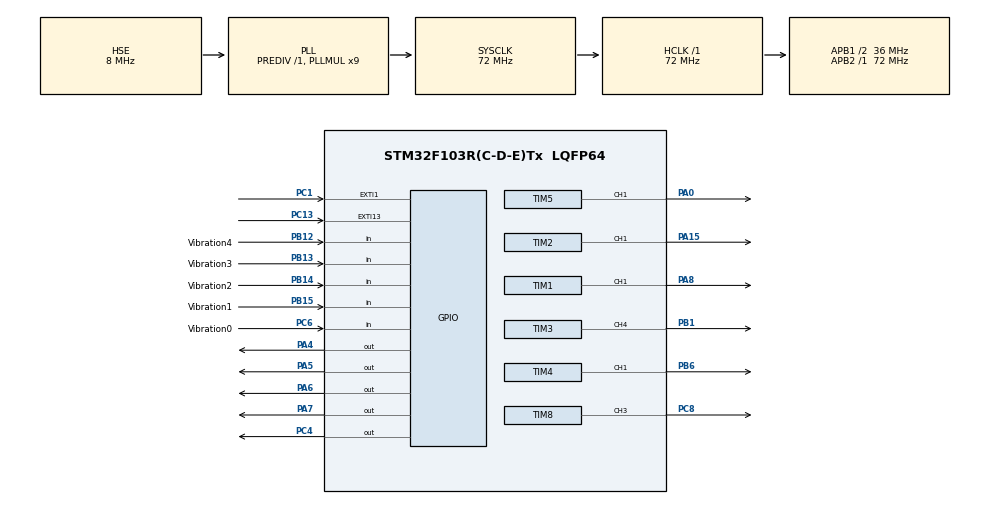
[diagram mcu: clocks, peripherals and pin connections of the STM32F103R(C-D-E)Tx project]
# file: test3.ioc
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Dma.Request0=TIM1_CH1
Dma.Request1=TIM2_CH1
Dma.Request2=TIM4_CH1
Dma.Request3=TIM3_CH4/UP
Dma.Request4=TIM5_CH1
Dma.Request5=TIM8_CH3/UP
Dma.TIM1_CH1.0.Direction=DMA_MEMORY_TO_PERIPH
Dma.TIM1_CH1.0.Instance=DMA1_Channel2
Dma.TIM1_CH1.0.MemDataAlignment=DMA_MDATAALIGN_WORD
Dma.TIM1_CH1.0.MemInc=DMA_MINC_ENABLE
Dma.TIM1_CH1.0.Mode=DMA_NORMAL
Dma.TIM1_CH1.0.PeriphDataAlignment=DMA_PDATAALIGN_WORD
Dma.TIM1_CH1.0.PeriphInc=DMA_PINC_DISABLE
Dma.TIM1_CH1.0.Priority=DMA_PRIORITY_LOW
Dma.TIM2_CH1.1.Direction=DMA_MEMORY_TO_PERIPH
Dma.TIM2_CH1.1.Instance=DMA1_Channel5
Dma.TIM2_CH1.1.MemDataAlignment=DMA_MDATAALIGN_WORD
Dma.TIM2_CH1.1.MemInc=DMA_MINC_ENABLE
Dma.TIM2_CH1.1.Mode=DMA_NORMAL
Dma.TIM2_CH1.1.PeriphDataAlignment=DMA_PDATAALIGN_WORD
Dma.TIM2_CH1.1.PeriphInc=DMA_PINC_DISABLE
Dma.TIM2_CH1.1.Priority=DMA_PRIORITY_LOW
Dma.TIM3_CH4/UP.3.Direction=DMA_MEMORY_TO_PERIPH
Dma.TIM3_CH4/UP.3.Instance=DMA1_Channel3
Dma.TIM3_CH4/UP.3.MemDataAlignment=DMA_MDATAALIGN_WORD
Dma.TIM3_CH4/UP.3.MemInc=DMA_MINC_ENABLE
Dma.TIM3_CH4/UP.3.Mode=DMA_NORMAL
Dma.TIM3_CH4/UP.3.PeriphDataAlignment=DMA_PDATAALIGN_WORD
Dma.TIM3_CH4/UP.3.PeriphInc=DMA_PINC_DISABLE
Dma.TIM3_CH4/UP.3.Priority=DMA_PRIORITY_LOW
Dma.TIM4_CH1.2.Direction=DMA_MEMORY_TO_PERIPH
Dma.TIM4_CH1.2.Instance=DMA1_Channel1
Dma.TIM4_CH1.2.MemDataAlignment=DMA_MDATAALIGN_WORD
Dma.TIM4_CH1.2.MemInc=DMA_MINC_ENABLE
Dma.TIM4_CH1.2.Mode=DMA_NORMAL
Dma.TIM4_CH1.2.PeriphDataAlignment=DMA_PDATAALIGN_WORD
Dma.TIM4_CH1.2.PeriphInc=DMA_PINC_DISABLE
Dma.TIM4_CH1.2.Priority=DMA_PRIORITY_LOW
Dma.TIM5_CH1.4.Direction=DMA_MEMORY_TO_PERIPH
Dma.TIM5_CH1.4.Instance=DMA2_Channel5
Dma.TIM5_CH1.4.MemDataAlignment=DMA_MDATAALIGN_WORD
Dma.TIM5_CH1.4.MemInc=DMA_MINC_ENABLE
Dma.TIM5_CH1.4.Mode=DMA_NORMAL
Dma.TIM5_CH1.4.PeriphDataAlignment=DMA_PDATAALIGN_WORD
Dma.TIM5_CH1.4.PeriphInc=DMA_PINC_DISABLE
Dma.TIM5_CH1.4.Priority=DMA_PRIORITY_LOW
Dma.TIM8_CH3/UP.5.Direction=DMA_MEMORY_TO_PERIPH
Dma.TIM8_CH3/UP.5.Instance=DMA2_Channel1
Dma.TIM8_CH3/UP.5.MemDataAlignment=DMA_MDATAALIGN_WORD
Dma.TIM8_CH3/UP.5.MemInc=DMA_MINC_ENABLE
Dma.TIM8_CH3/UP.5.Mode=DMA_NORMAL
Dma.TIM8_CH3/UP.5.PeriphDataAlignment=DMA_PDATAALIGN_WORD
Dma.TIM8_CH3/UP.5.PeriphInc=DMA_PINC_DISABLE
Dma.TIM8_CH3/UP.5.Priority=DMA_PRIORITY_LOW
Mcu.Family=STM32F1
Mcu.Name=STM32F103R(C-D-E)Tx
Mcu.Package=LQFP64
NVIC.DMA1_Channel1_IRQn=true\:5\:0\:true\:false\:true\:false\:true\:true
NVIC.DMA1_Channel2_IRQn=true\:5\:0\:true\:false\:true\:false\:true\:true
NVIC.DMA1_Channel3_IRQn=true\:5\:0\:true\:false\:true\:false\:true\:true
NVIC.DMA1_Channel5_IRQn=true\:5\:0\:true\:false\:true\:false\:true\:true
NVIC.DMA2_Channel1_IRQn=true\:5\:0\:true\:false\:true\:false\:true\:true
NVIC.DMA2_Channel4_5_IRQn=true\:6\:0\:true\:false\:true\:false\:true\:true
NVIC.EXTI15_10_IRQn=true\:1\:0\:true\:false\:true\:true\:true\:true
NVIC.EXTI1_IRQn=true\:1\:0\:true\:false\:true\:true\:true\:true
NVIC.PriorityGroup=NVIC_PRIORITYGROUP_4
NVIC.RTC_IRQn=true\:0\:0\:false\:false\:true\:true\:true\:true
PA0-WKUP.Signal=S_TIM5_CH1
PA13.Mode=Serial_Wire
PA13.Signal=SYS_JTMS-SWDIO
PA14.Mode=Serial_Wire
PA14.Signal=SYS_JTCK-SWCLK
PA15.Signal=S_TIM2_CH1_ETR
PA4.GPIO_ModeDefaultOutputPP=GPIO_MODE_OUTPUT_PP
PA4.GPIO_PuPd=GPIO_PULLDOWN
PA4.Signal=GPIO_Output
PA5.GPIO_ModeDefaultOutputPP=GPIO_MODE_OUTPUT_PP
PA5.GPIO_PuPd=GPIO_PULLDOWN
PA5.Signal=GPIO_Output
PA6.GPIO_PuPd=GPIO_PULLDOWN
PA6.Signal=GPIO_Output
PA7.GPIO_PuPd=GPIO_PULLDOWN
PA7.Signal=GPIO_Output
PA8.Signal=S_TIM1_CH1
PB1.Signal=S_TIM3_CH4
PB12.GPIO_Label=Vibration4
PB12.GPIO_PuPd=GPIO_NOPULL
PB12.Signal=GPIO_Input
PB13.GPIO_Label=Vibration3
PB13.GPIO_PuPd=GPIO_NOPULL
PB13.Signal=GPIO_Input
PB14.GPIO_Label=Vibration2
PB14.GPIO_PuPd=GPIO_NOPULL
PB14.Signal=GPIO_Input
PB15.GPIO_Label=Vibration1
PB15.GPIO_PuPd=GPIO_NOPULL
PB15.Signal=GPIO_Input
PB6.Signal=S_TIM4_CH1
PC1.GPIO_ModeDefaultEXTI=GPIO_MODE_IT_FALLING
PC1.GPIO_PuPd=GPIO_PULLUP
PC1.Signal=GPXTI1
PC13-TAMPER-RTC.GPIO_ModeDefaultEXTI=GPIO_MODE_IT_FALLING
PC13-TAMPER-RTC.GPIO_PuPd=GPIO_PULLUP
PC13-TAMPER-RTC.Signal=GPXTI13
PC4.GPIO_PuPd=GPIO_PULLDOWN
PC4.Signal=GPIO_Output
PC6.GPIO_Label=Vibration0
PC6.GPIO_PuPd=GPIO_NOPULL
PC6.Signal=GPIO_Input
PC8.Signal=S_TIM8_CH3
PD0-OSC_IN.Mode=HSE-External-Oscillator
PD0-OSC_IN.Signal=RCC_OSC_IN
PD1-OSC_OUT.Mode=HSE-External-Oscillator
PD1-OSC_OUT.Signal=RCC_OSC_OUT
ProjectManager.HeapSize=0x400
ProjectManager.StackSize=0x500
ProjectManager.TargetToolchain=MDK-ARM V5.32
RCC.AHBFreq_Value=72000000
RCC.APB1CLKDivider=RCC_HCLK_DIV2
RCC.APB1Freq_Value=36000000
RCC.APB1TimFreq_Value=72000000
RCC.APB2Freq_Value=72000000
RCC.APB2TimFreq_Value=72000000
RCC.HCLKFreq_Value=72000000
RCC.PLLMUL=RCC_PLL_MUL9
RCC.PLLSourceVirtual=RCC_PLLSOURCE_HSE
RCC.SYSCLKFreq_VALUE=72000000
RCC.SYSCLKSource=RCC_SYSCLKSOURCE_PLLCLK
RCC.USBFreq_Value=72000000
RTC.Format=RTC_FORMAT_BCD
SH.S_TIM1_CH1.0=TIM1_CH1,PWM Generation1 CH1
SH.S_TIM2_CH1_ETR.0=TIM2_CH1,PWM Generation1 CH1
SH.S_TIM3_CH4.0=TIM3_CH4,PWM Generation4 CH4
SH.S_TIM4_CH1.0=TIM4_CH1,PWM Generation1 CH1
SH.S_TIM5_CH1.0=TIM5_CH1,PWM Generation1 CH1
SH.S_TIM8_CH3.0=TIM8_CH3,PWM Generation3 CH3
TIM1.Channel-PWM\ Generation1\ CH1=TIM_CHANNEL_1
TIM1.Period=89
TIM2.Channel-PWM\ Generation1\ CH1=TIM_CHANNEL_1
TIM2.Period=89
TIM3.Channel-PWM\ Generation4\ CH4=TIM_CHANNEL_4
TIM3.Period=89
TIM4.Channel-PWM\ Generation1\ CH1=TIM_CHANNEL_1
TIM4.Period=89
TIM5.Channel-PWM\ Generation1\ CH1=TIM_CHANNEL_1
TIM5.Period=89
TIM8.Channel-PWM\ Generation3\ CH3=TIM_CHANNEL_3
TIM8.Period=89
VP_RTC_No_RTC_Output.Mode=RTC_OUT_NO
VP_RTC_VS_RTC_Activate.Mode=RTC_Enabled
VP_RTC_VS_RTC_Calendar.Mode=RTC_Calendar
VP_TIM3_VS_ClockSourceINT.Mode=Internal
board=custom

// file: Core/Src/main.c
/* USER CODE BEGIN Header */
/**
 ******************************************************************************
 * @file           : main.c
 * @brief          : Main program body
 ******************************************************************************
 * @attention
 *
 * Copyright (c) 2023 STMicroelectronics.
 * All rights reserved.
 *
 * This software is licensed under terms that can be found in the LICENSE file
 * in the root directory of this software component.
 * If no LICENSE file comes with this software, it is provided AS-IS.
 *
 ******************************************************************************
 */
/* USER CODE END Header */
#include "main.h"
#include "dma.h"
#include "rtc.h"
#include "tim.h"
#include "gpio.h"

/* USER CODE BEGIN Includes */
#include "WS2812.h"
#include "ctr.h"
// #include "Cmaster.h"
#include "vibra.h"
/* USER CODE END Includes */

void SystemClock_Config(void);

/* USER CODE BEGIN 0 */
int Step = 1;
int now_light = 1;
int fan_change_time = 2;
uint8_t flag=0;//调其他颜色时flag不能为0 1 2 3
// define FanMode

int MODE = 0;//调试模式MODE不能是0 1 2
// GRB
uint32_t RGB1 = 0X000055; // color
/* USER CODE END 0 */

int main(void)
{

  /* MCU Configuration--------------------------------------------------------*/

  /* Reset of all peripherals, Initializes the Flash interface and the Systick. */
  HAL_Init();

  /* Configure the system clock */
  SystemClock_Config();

  /* Initialize all configured peripherals */
  MX_GPIO_Init();
  MX_DMA_Init();
  MX_TIM1_Init();
  MX_TIM2_Init();
  MX_TIM3_Init();
  MX_TIM4_Init();
  MX_TIM5_Init();
  MX_TIM8_Init();
  MX_RTC_Init();
  /* USER CODE BEGIN 2 */
  //	ALL_UpdateBuf();
  boot_init();  //EC_init
  // Rand_num();

  // PC8
  /* USER CODE END 2 */

  /* Infinite loop */
  /* USER CODE BEGIN WHILE */

  while (1)
  {
	   if(flag==0)
	    {
		    RGB1=0X0000ff;
	    }
	   if(flag==1)
	    {
		    RGB1=0X00FF00;
	    }
			if(flag==2)
	    {
		    RGB1=0X005F00;
	    }
			if(flag==3)
	    {
		    RGB1=0X00005F;
	    }
     if (MODE == 0)
    {
      Vibra_monitor();
      fan_logic(Step);
      ctr_fan(Step, RGB1,fan_change_time);
      Vibra_monitor();
    }
    else if(MODE == 2)
    {
      Test1(Step, RGB1);
    }
    else if(MODE == 1)
    {
      Vibra_monitor();
      fan_logic(Step);
      ctr_fan1(Step, RGB1,fan_change_time);
      Vibra_monitor();
    }
      else if(MODE == 3)
    {
      Test3(Step, RGB1);
    }
    /* USER CODE END WHILE */

    /* USER CODE BEGIN 3 */
    //Test(Step,RGB1,now_light);//调试模式
  }
  /* USER CODE END 3 */
}

void SystemClock_Config(void)
{
  RCC_OscInitTypeDef RCC_OscInitStruct = {0};
  RCC_ClkInitTypeDef RCC_ClkInitStruct = {0};
  RCC_PeriphCLKInitTypeDef PeriphClkInit = {0};

  /** Initializes the RCC Oscillators according to the specified parameters
  * in the RCC_OscInitTypeDef structure.
  */
  RCC_OscInitStruct.OscillatorType = RCC_OSCILLATORTYPE_LSI|RCC_OSCILLATORTYPE_HSE;
  RCC_OscInitStruct.HSEState = RCC_HSE_ON;
  RCC_OscInitStruct.HSEPredivValue = RCC_HSE_PREDIV_DIV1;
  RCC_OscInitStruct.HSIState = RCC_HSI_ON;
  RCC_OscInitStruct.LSIState = RCC_LSI_ON;
  RCC_OscInitStruct.PLL.PLLState = RCC_PLL_ON;
  RCC_OscInitStruct.PLL.PLLSource = RCC_PLLSOURCE_HSE;
  RCC_OscInitStruct.PLL.PLLMUL = RCC_PLL_MUL9;
  if (HAL_RCC_OscConfig(&RCC_OscInitStruct) != HAL_OK)
  {
    Error_Handler();
  }

  /** Initializes the CPU, AHB and APB buses clocks
  */
  RCC_ClkInitStruct.ClockType = RCC_CLOCKTYPE_HCLK|RCC_CLOCKTYPE_SYSCLK
                              |RCC_CLOCKTYPE_PCLK1|RCC_CLOCKTYPE_PCLK2;
  RCC_ClkInitStruct.SYSCLKSource = RCC_SYSCLKSOURCE_PLLCLK;
  RCC_ClkInitStruct.AHBCLKDivider = RCC_SYSCLK_DIV1;
  RCC_ClkInitStruct.APB1CLKDivider = RCC_HCLK_DIV2;
  RCC_ClkInitStruct.APB2CLKDivider = RCC_HCLK_DIV1;

  if (HAL_RCC_ClockConfig(&RCC_ClkInitStruct, FLASH_LATENCY_2) != HAL_OK)
  {
    Error_Handler();
  }
  PeriphClkInit.PeriphClockSelection = RCC_PERIPHCLK_RTC;
  PeriphClkInit.RTCClockSelection = RCC_RTCCLKSOURCE_LSI;
  if (HAL_RCCEx_PeriphCLKConfig(&PeriphClkInit) != HAL_OK)
  {
    Error_Handler();
  }
}

/* USER CODE BEGIN 4 */
void HAL_GPIO_EXTI_Callback(uint16_t GPIO_Pin)          // key  change
{
    if(GPIO_Pin == GPIO_PIN_13)       //color
    {
      HAL_Delay(10);
      if(HAL_GPIO_ReadPin(GPIOC,GPIO_PIN_13) == GPIO_PIN_RESET)
      {
        flag=flag + 1;
		    if(flag > 3)
		   {
		    flag = 0;
		   }
      }
    }
    else if(GPIO_Pin == GPIO_PIN_1)         // mode
    {
      HAL_Delay(10);
      if(HAL_GPIO_ReadPin(GPIOA,GPIO_PIN_1) == GPIO_PIN_RESET)
      {
        MODE=MODE + 1;
        if (MODE > 2)
        {
          MODE = 0;
        }
      }
    }

}

// PA3~7
// void HAL_GPIO_EXTI_Callback(uint16_t GPIO_Pin)
//{
//
////	if(GPIO_Pin == GPIO_PIN_3){
////		vibra_flag[0]=1;
////	}
////	if(GPIO_Pin == GPIO_PIN_4){
////			vibra_flag[0]=1;
////	}
////	if(GPIO_Pin == GPIO_PIN_5){
////			vibra_flag[0]=1;
////	}
////	if(GPIO_Pin == GPIO_PIN_6){
////			vibra_flag[0]=1;
////	}
////	if(GPIO_Pin == GPIO_PIN_7){
////			vibra_flag[0]=1;
////	}
//
//}

/* USER CODE END 4 */

void Error_Handler(void)
{
  __disable_irq();
  while (1)
  {
  }
}
